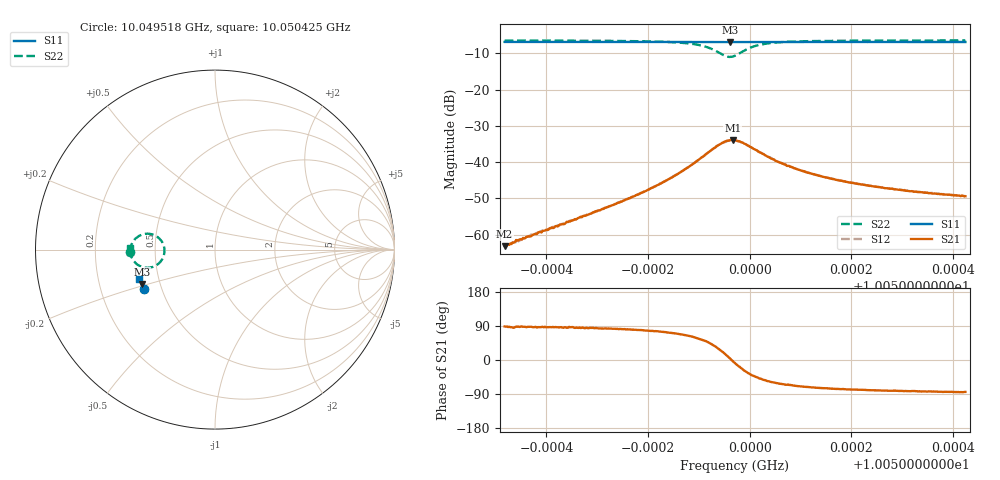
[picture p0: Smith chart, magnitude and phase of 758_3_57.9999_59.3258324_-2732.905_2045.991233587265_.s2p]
#  HZ  S  RI  R  50.00
! Rohde & Schwarz Vector Network Analyzer
! Rohde-Schwarz,ZNB20-2Port,1311601062101988,3.16
! Created: UTC 3/21/2024, 1:24:17 AM
! freq[Hz]  re:S11  im:S11  re:S21  im:S21  re:S12  im:S12  re:S22  im:S22
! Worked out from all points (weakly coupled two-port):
!   401 points, 10.049518 GHz to 10.050425 GHz, reference 50 ohm
!   highest |S21| = -33.87 dB at 10.049967 GHz (marker M1); lowest = -63.1 dB at 10.049518 GHz (marker M2)
!   lowest |S11| = -6.9 dB at 10.049962 GHz (marker M3), VSWR 2.64, Z = 19.7 - j9.52 ohm
!   |S11| at or under -10 dB: nowhere
!   |S22| runs from -11.0 to -6.5 dB; largest |S21 - S12| = 0.0016
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1.00495176e10  -0.3971 -0.2193  1.86e-05 0.000696  -2.83e-05 0.000711  -0.4736 -0.0107
1.00495448e10  -0.3981 -0.2177  2.76e-05 0.000837  -2.19e-05 0.000812  -0.4734 -0.00775
1.00495879e10  -0.3994 -0.2151  6.45e-05 0.0011  -1.5e-05 0.0011  -0.4728 -0.00244
1.00496696e10  -0.4017 -0.21  0.000157 0.00174  5.33e-05 0.00178  -0.4709 0.00925
1.00497603e10  -0.4042 -0.2046  0.000488 0.00308  0.000325 0.00312  -0.4655 0.0275
1.00498215e10  -0.4059 -0.2007  0.00125 0.00476  0.00102 0.00487  -0.4553 0.0467
1.00498556e10  -0.4068 -0.1985  0.0023 0.0063  0.00195 0.00642  -0.4425 0.0617
1.00498828e10  -0.4074 -0.1967  0.00404 0.00791  0.00363 0.00811  -0.4232 0.0763
1.00499032e10  -0.4078 -0.1952  0.00649 0.00918  0.00598 0.00951  -0.3978 0.0862
1.00499213e10  -0.4079 -0.1941  0.00999 0.00987  0.00951 0.0103  -0.3625 0.0876
1.0049944e10  -0.4078 -0.1928  0.0165 0.0074  0.016 0.00842  -0.3051 0.0564
1.00499531e10  -0.4076 -0.1926  0.0188 0.00473  0.0183 0.00581  -0.2877 0.0275
1.00499622e10  -0.4077 -0.1922  0.0201 0.0011  0.0198 0.00213  -0.2816 -0.00822
1.00499667e10  -0.4078 -0.1922  0.0202 -0.000865  0.0199 0.000328  -0.2837 -0.0265
1.00499712e10  -0.408 -0.1923  0.0197 -0.00282  0.0197 -0.00168  -0.2891 -0.0437
1.00499939e10  -0.4089 -0.1916  0.0148 -0.00908  0.0154 -0.00805  -0.345 -0.0957
1.00500257e10  -0.4105 -0.1899  0.00807 -0.0102  0.0088 -0.00961  -0.4108 -0.0948
1.0050071e10  -0.412 -0.1871  0.00389 -0.00842  0.00434 -0.00806  -0.4489 -0.0679
1.00501232e10  -0.4137 -0.1838  0.00207 -0.00659  0.00253 -0.00643  -0.4636 -0.0453
1.00501935e10  -0.4155 -0.1794  0.00113 -0.00517  0.00146 -0.00516  -0.4706 -0.0258
1.00502751e10  -0.4175 -0.1744  0.000658 -0.00426  0.000919 -0.00426  -0.4734 -0.0108
1.00504248e10  -0.4209 -0.1652  0.000341 -0.00337  0.0005 -0.00338  -0.4748 0.00798
